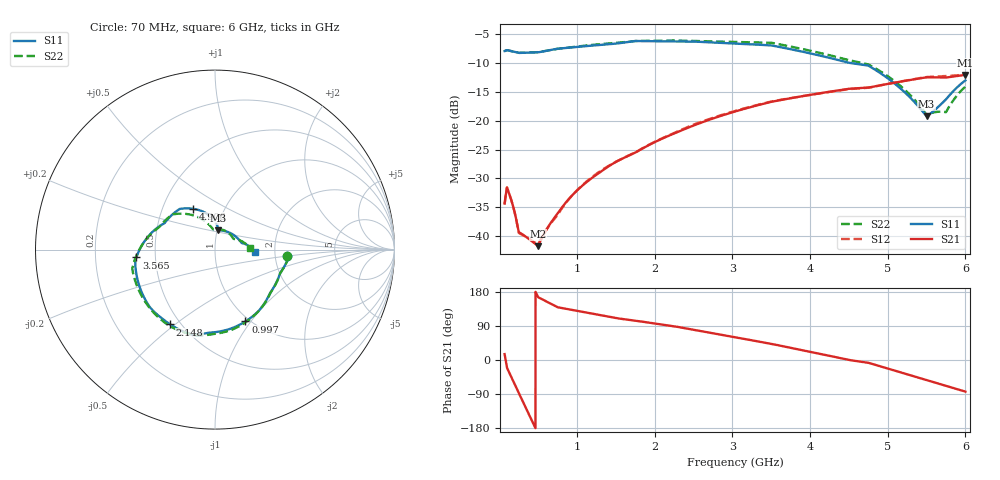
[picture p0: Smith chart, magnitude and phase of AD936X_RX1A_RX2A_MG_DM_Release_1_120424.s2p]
! Created 4/24/2012.
! AD936X RX1A or RX2A RX Input 2-Port "S" Matrix.
! This LNA may be utilized for the "full" 70Mhz to 6Ghz Frequency Range.
! Device Revision : R2
! LNA Gain = Maximum.
! Port 1 : RX1A or RX2A : P, M1 or A2.
! Port 2 : RX1A or RX2A : N, M2 or A1.
! Reference-Plane : Ball Pad Edge.
! Rogers 4003 : Height=8 mil.
! Ball Pad Diameter = 355.6um.
! Ball Pad Pitch = 800um.
! This "S" Matrix includes the parasitics associated with the Ball Pads.
! Property of ADI. Distribution prohibited without the written consent of Analog Devices.
# hz S ma R 50
! 2 Port Network Data from SP1.SP block
! freq  magS11  angS11  magS21  angS21  magS12  angS12  magS22  angS22
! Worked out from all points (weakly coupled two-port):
!   5931 points, 70 MHz to 6 GHz, reference 50 ohm
!   highest |S21| = -12.07 dB at 6 GHz (marker M1); lowest = -41.7 dB at 500 MHz (marker M2)
!   lowest |S11| = -19.3 dB at 5.5 GHz (marker M3), VSWR 1.24, Z = 50.6 + j11 ohm
!   |S11| at or under -10 dB: 4.514 GHz to end of sweep
!   |S22| runs from -19.0 to -6.1 dB; largest |S21 - S12| = 0.0082
!   S11 on the Smith chart (normalised r, x): 70 MHz: 2.32, -0.20; 997 MHz: 0.95, -0.94; 2.148 GHz: 0.44, -0.48; 3.565 GHz: 0.39, -0.04; 4.906 GHz: 0.71, +0.35; 6 GHz: 1.57, -0.04
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7e7  0.401 -5.2  0.01911 15.5  0.01894 15.0  0.4001 -5.1
1.03e8  0.4077 -8.6  0.02591 -21.7  0.02616 -23.4  0.4078 -8.6
1.25e8  0.4044 -10.3  0.02366 -31.4  0.02385 -33.4  0.4046 -10.3
2.72e8  0.3862 -21.1  0.01065 -95.4  0.01047 -98.7  0.3869 -21.2
5e8  0.3903 -38.0  0.008178 165.8  0.008434 165.9  0.3912 -37.4
6.9e8  0.4125 -50.6  0.01379 145.7  0.01353 144.6  0.4123 -50.0
9.97e8  0.4349 -67.1  0.02465 129.9  0.02477 128.5  0.438 -66.3
1.059e9  0.4387 -70.2  0.02693 127.5  0.02719 126.2  0.4428 -69.3
1.679e9  0.4825 -102.0  0.05022 105.8  0.0504 103.4  0.4844 -99.1
2.047e9  0.4873 -116.9  0.06737 95.1  0.06783 93.1  0.493 -113.2
2.148e9  0.486 -120.9  0.07234 92.1  0.07289 90.3  0.4941 -116.9
2.513e9  0.4841 -139.1  0.09135 79.4  0.09306 78.7  0.4903 -133.7
3.035e9  0.4655 -156.5  0.12 60.0  0.1214 59.8  0.4814 -151.3
3.565e9  0.4404 -174.3  0.1483 40.0  0.1492 40.2  0.4645 -169.3
4.024e9  0.3799 169.0  0.1682 20.4  0.168 20.4  0.4007 174.7
4.529e9  0.3152 149.9  0.1892 -0.7  0.188 -1.0  0.3312 155.9
4.747e9  0.3002 131.3  0.1932 -7.2  0.1922 -7.5  0.3071 140.5
4.906e9  0.258 118.2  0.2025 -16.7  0.2021 -16.7  0.2675 131.5
5.012e9  0.2298 109.9  0.2088 -23.2  0.2087 -22.8  0.24 125.5
5.5e9  0.109 80.5  0.2375 -52.8  0.239 -51.4  0.1123 95.2
5.746e9  0.1519 14.9  0.2361 -67.7  0.243 -66.6  0.1185 31.5
6e9  0.2231 -3.1  0.2492 -83.4  0.2503 -83.1  0.1971 1.6
